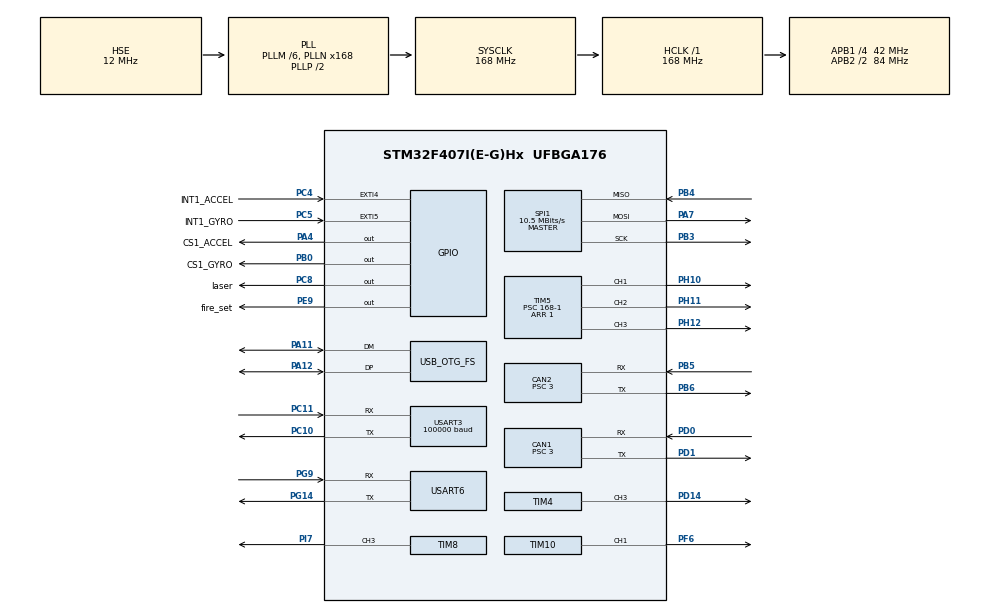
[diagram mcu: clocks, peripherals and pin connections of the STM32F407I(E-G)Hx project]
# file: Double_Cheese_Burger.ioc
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CAN1.ABOM=ENABLE
CAN1.AWUM=ENABLE
CAN1.BS1=CAN_BS1_10TQ
CAN1.BS2=CAN_BS2_3TQ
CAN1.CalculateBaudRate=1000000
CAN1.CalculateTimeBit=1000
CAN1.CalculateTimeQuantum=71.42857142857143
CAN1.Prescaler=3
CAN2.ABOM=ENABLE
CAN2.AWUM=ENABLE
CAN2.BS1=CAN_BS1_10TQ
CAN2.BS2=CAN_BS2_3TQ
CAN2.CalculateBaudRate=1000000
CAN2.CalculateTimeBit=1000
CAN2.CalculateTimeQuantum=71.42857142857143
CAN2.Prescaler=3
Dma.Request0=SPI1_RX
Dma.Request1=SPI1_TX
Dma.Request2=USART3_RX
Dma.Request3=USART6_RX
Dma.Request4=USART6_TX
Dma.SPI1_RX.0.Direction=DMA_PERIPH_TO_MEMORY
Dma.SPI1_RX.0.FIFOMode=DMA_FIFOMODE_DISABLE
Dma.SPI1_RX.0.Instance=DMA2_Stream0
Dma.SPI1_RX.0.MemDataAlignment=DMA_MDATAALIGN_BYTE
Dma.SPI1_RX.0.MemInc=DMA_MINC_ENABLE
Dma.SPI1_RX.0.Mode=DMA_NORMAL
Dma.SPI1_RX.0.PeriphDataAlignment=DMA_PDATAALIGN_BYTE
Dma.SPI1_RX.0.PeriphInc=DMA_PINC_DISABLE
Dma.SPI1_RX.0.Priority=DMA_PRIORITY_HIGH
Dma.SPI1_TX.1.Direction=DMA_MEMORY_TO_PERIPH
Dma.SPI1_TX.1.FIFOMode=DMA_FIFOMODE_DISABLE
Dma.SPI1_TX.1.Instance=DMA2_Stream3
Dma.SPI1_TX.1.MemDataAlignment=DMA_MDATAALIGN_BYTE
Dma.SPI1_TX.1.MemInc=DMA_MINC_ENABLE
Dma.SPI1_TX.1.Mode=DMA_NORMAL
Dma.SPI1_TX.1.PeriphDataAlignment=DMA_PDATAALIGN_BYTE
Dma.SPI1_TX.1.PeriphInc=DMA_PINC_DISABLE
Dma.SPI1_TX.1.Priority=DMA_PRIORITY_HIGH
Dma.USART3_RX.2.Direction=DMA_PERIPH_TO_MEMORY
Dma.USART3_RX.2.FIFOMode=DMA_FIFOMODE_DISABLE
Dma.USART3_RX.2.Instance=DMA1_Stream1
Dma.USART3_RX.2.MemDataAlignment=DMA_MDATAALIGN_BYTE
Dma.USART3_RX.2.MemInc=DMA_MINC_ENABLE
Dma.USART3_RX.2.Mode=DMA_CIRCULAR
Dma.USART3_RX.2.PeriphDataAlignment=DMA_PDATAALIGN_BYTE
Dma.USART3_RX.2.PeriphInc=DMA_PINC_DISABLE
Dma.USART3_RX.2.Priority=DMA_PRIORITY_VERY_HIGH
Dma.USART6_RX.3.Direction=DMA_PERIPH_TO_MEMORY
Dma.USART6_RX.3.FIFOMode=DMA_FIFOMODE_DISABLE
Dma.USART6_RX.3.Instance=DMA2_Stream1
Dma.USART6_RX.3.MemDataAlignment=DMA_MDATAALIGN_BYTE
Dma.USART6_RX.3.MemInc=DMA_MINC_ENABLE
Dma.USART6_RX.3.Mode=DMA_CIRCULAR
Dma.USART6_RX.3.PeriphDataAlignment=DMA_PDATAALIGN_BYTE
Dma.USART6_RX.3.PeriphInc=DMA_PINC_DISABLE
Dma.USART6_RX.3.Priority=DMA_PRIORITY_LOW
Dma.USART6_TX.4.Direction=DMA_MEMORY_TO_PERIPH
Dma.USART6_TX.4.FIFOMode=DMA_FIFOMODE_DISABLE
Dma.USART6_TX.4.Instance=DMA2_Stream6
Dma.USART6_TX.4.MemDataAlignment=DMA_MDATAALIGN_BYTE
Dma.USART6_TX.4.MemInc=DMA_MINC_ENABLE
Dma.USART6_TX.4.Mode=DMA_NORMAL
Dma.USART6_TX.4.PeriphDataAlignment=DMA_PDATAALIGN_BYTE
Dma.USART6_TX.4.PeriphInc=DMA_PINC_DISABLE
Dma.USART6_TX.4.Priority=DMA_PRIORITY_LOW
FREERTOS.INCLUDE_vTaskDelayUntil=1
FREERTOS.Tasks01=defaultTask,0,128,StartDefaultTask,Default,NULL,Dynamic,NULL,NULL;gimbal_task,2,1024,GIMBAL_TASK,As external,NULL,Dynamic,NULL,NULL;imu_task,0,512,ECF_IMU_Task,As external,NULL,Dynamic,NULL,NULL;fire_task,0,512,FIRE_TASK,As external,NULL,Dynamic,NULL,NULL;virtual_task,0,512,VIRTUAL_TASK,As external,NULL,Dynamic,NULL,NULL;safe_task,0,512,SAFE_TASK,As external,NULL,Dynamic,NULL,NULL
Mcu.Family=STM32F4
Mcu.Name=STM32F407I(E-G)Hx
Mcu.Package=UFBGA176
NVIC.CAN1_RX0_IRQn=true\:5\:0\:false\:false\:true\:true\:true\:true\:true
NVIC.CAN2_RX0_IRQn=true\:5\:0\:false\:false\:true\:true\:true\:true\:true
NVIC.DMA1_Stream1_IRQn=true\:5\:0\:false\:false\:true\:true\:false\:true\:true
NVIC.DMA2_Stream0_IRQn=true\:5\:0\:false\:false\:true\:true\:false\:true\:true
NVIC.DMA2_Stream1_IRQn=true\:5\:0\:false\:false\:true\:true\:false\:true\:true
NVIC.DMA2_Stream3_IRQn=true\:5\:0\:false\:false\:true\:true\:false\:true\:true
NVIC.DMA2_Stream6_IRQn=true\:5\:0\:false\:false\:true\:true\:false\:true\:true
NVIC.EXTI4_IRQn=true\:5\:0\:true\:false\:true\:false\:true\:true\:true
NVIC.EXTI9_5_IRQn=true\:5\:0\:true\:false\:true\:false\:true\:true\:true
NVIC.OTG_FS_IRQn=true\:5\:0\:false\:false\:true\:true\:false\:true\:true
NVIC.PriorityGroup=NVIC_PRIORITYGROUP_4
NVIC.TIM1_UP_TIM10_IRQn=true\:5\:0\:false\:false\:true\:false\:false\:true\:true
NVIC.TimeBase=TIM1_UP_TIM10_IRQn
NVIC.TimeBaseIP=TIM1
NVIC.USART3_IRQn=true\:5\:0\:false\:false\:true\:true\:true\:true\:true
NVIC.USART6_IRQn=true\:5\:0\:false\:false\:true\:true\:true\:true\:true
PA10.Signal=USB_OTG_FS_ID
PA11.Mode=Device_Only
PA11.Signal=USB_OTG_FS_DM
PA12.Mode=Device_Only
PA12.Signal=USB_OTG_FS_DP
PA13.Mode=Serial_Wire
PA13.Signal=SYS_JTMS-SWDIO
PA14.Mode=Serial_Wire
PA14.Signal=SYS_JTCK-SWCLK
PA4.GPIO_Label=CS1_ACCEL
PA4.GPIO_PuPd=GPIO_PULLUP
PA4.GPIO_Speed=GPIO_SPEED_FREQ_HIGH
PA4.PinState=GPIO_PIN_SET
PA4.Signal=GPIO_Output
PA7.GPIO_PuPd=GPIO_PULLUP
PA7.Mode=Full_Duplex_Master
PA7.Signal=SPI1_MOSI
PB0.GPIO_Label=CS1_GYRO
PB0.GPIO_PuPd=GPIO_PULLUP
PB0.GPIO_Speed=GPIO_SPEED_FREQ_HIGH
PB0.PinState=GPIO_PIN_SET
PB0.Signal=GPIO_Output
PB3.GPIO_PuPd=GPIO_PULLUP
PB3.Mode=Full_Duplex_Master
PB3.Signal=SPI1_SCK
PB4.GPIO_PuPd=GPIO_PULLUP
PB4.Mode=Full_Duplex_Master
PB4.Signal=SPI1_MISO
PB5.Mode=CAN_Activate
PB5.Signal=CAN2_RX
PB6.Mode=CAN_Activate
PB6.Signal=CAN2_TX
PC10.Mode=Asynchronous
PC10.Signal=USART3_TX
PC11.Mode=Asynchronous
PC11.Signal=USART3_RX
PC4.GPIO_Label=INT1_ACCEL
PC4.GPIO_ModeDefaultEXTI=GPIO_MODE_IT_FALLING
PC4.GPIO_PuPd=GPIO_PULLUP
PC4.Signal=GPXTI4
PC5.GPIO_Label=INT1_GYRO
PC5.GPIO_ModeDefaultEXTI=GPIO_MODE_IT_FALLING
PC5.GPIO_PuPd=GPIO_PULLUP
PC5.Signal=GPXTI5
PC8.GPIO_Label=laser
PC8.PinState=GPIO_PIN_SET
PC8.Signal=GPIO_Output
PD0.Mode=CAN_Activate
PD0.Signal=CAN1_RX
PD1.Mode=CAN_Activate
PD1.Signal=CAN1_TX
PD14.Signal=S_TIM4_CH3
PE9.GPIO_Label=fire_set
PE9.GPIO_PuPd=GPIO_PULLUP
PE9.PinState=GPIO_PIN_SET
PE9.Signal=GPIO_Output
PF6.GPIO_PuPd=GPIO_PULLUP
PF6.GPIO_Speed=GPIO_SPEED_FREQ_HIGH
PF6.Signal=S_TIM10_CH1
PG14.Mode=Asynchronous
PG14.Signal=USART6_TX
PG9.Mode=Asynchronous
PG9.Signal=USART6_RX
PH0-OSC_IN.Mode=HSE-External-Oscillator
PH0-OSC_IN.Signal=RCC_OSC_IN
PH1-OSC_OUT.Mode=HSE-External-Oscillator
PH1-OSC_OUT.Signal=RCC_OSC_OUT
PH10.Signal=S_TIM5_CH1
PH11.Signal=S_TIM5_CH2
PH12.Signal=S_TIM5_CH3
PI7.Signal=S_TIM8_CH3
ProjectManager.HeapSize=0x2000
ProjectManager.StackSize=0x2000
ProjectManager.TargetToolchain=Makefile
RCC.48MHZClocksFreq_Value=48000000
RCC.AHBFreq_Value=168000000
RCC.APB1CLKDivider=RCC_HCLK_DIV4
RCC.APB1Freq_Value=42000000
RCC.APB1TimFreq_Value=84000000
RCC.APB2CLKDivider=RCC_HCLK_DIV2
RCC.APB2Freq_Value=84000000
RCC.APB2TimFreq_Value=168000000
RCC.CortexFreq_Value=168000000
RCC.HCLKFreq_Value=168000000
RCC.HSE_VALUE=12000000
RCC.HSI_VALUE=16000000
RCC.LSE_VALUE=32768
RCC.PLLM=6
RCC.PLLN=168
RCC.PLLQ=7
RCC.SYSCLKFreq_VALUE=168000000
RCC.SYSCLKSource=RCC_SYSCLKSOURCE_PLLCLK
RCC.VCOOutputFreq_Value=336000000
SH.S_TIM10_CH1.0=TIM10_CH1,PWM Generation1 CH1
SH.S_TIM4_CH3.0=TIM4_CH3,PWM Generation3 CH3
SH.S_TIM5_CH1.0=TIM5_CH1,PWM Generation1 CH1
SH.S_TIM5_CH2.0=TIM5_CH2,PWM Generation2 CH2
SH.S_TIM5_CH3.0=TIM5_CH3,PWM Generation3 CH3
SH.S_TIM8_CH3.0=TIM8_CH3,PWM Generation3 CH3
SPI1.BaudRatePrescaler=SPI_BAUDRATEPRESCALER_8
SPI1.CLKPhase=SPI_PHASE_2EDGE
SPI1.CLKPolarity=SPI_POLARITY_HIGH
SPI1.CalculateBaudRate=10.5 MBits/s
SPI1.Direction=SPI_DIRECTION_2LINES
SPI1.Mode=SPI_MODE_MASTER
SPI1.VirtualType=VM_MASTER
STMicroelectronics.X-CUBE-ALGOBUILD.1.3.0.LibraryCcDSPOoLibraryJjDSPOoLibrary=true
TIM10.Channel=TIM_CHANNEL_1
TIM10.Period=1999
TIM10.Prescaler=839
TIM4.Channel-PWM\ Generation3\ CH3=TIM_CHANNEL_3
TIM4.Period=20999
TIM4.Prescaler=0
TIM5.Channel-PWM\ Generation1\ CH1=TIM_CHANNEL_1
TIM5.Channel-PWM\ Generation2\ CH2=TIM_CHANNEL_2
TIM5.Channel-PWM\ Generation3\ CH3=TIM_CHANNEL_3
TIM5.Period=1
TIM5.Prescaler=168-1
TIM8.Channel-PWM\ Generation3\ CH3=TIM_CHANNEL_3
TIM8.Period=20000-1
TIM8.Prescaler=168-1
TIM8.Pulse-PWM\ Generation3\ CH3=1500
USART3.BaudRate=100000
USART3.Parity=PARITY_EVEN
USART3.VirtualMode=VM_ASYNC
USART6.VirtualMode=VM_ASYNC
USB_DEVICE.CLASS_NAME_FS=CDC
USB_DEVICE.VirtualMode-CDC_FS=Cdc
USB_DEVICE.VirtualModeFS=Cdc_FS
USB_OTG_FS.VirtualMode=Device_Only
VP_FREERTOS_VS_CMSIS_V1.Mode=CMSIS_V1
VP_STMicroelectronics.X-CUBE-ALGOBUILD_VS_DSPOoLibraryJjLibrary_1.3.0_1.3.0.Mode=DSPOoLibraryJjLibrary
VP_SYS_VS_tim1.Mode=TIM1
VP_TIM10_VS_ClockSourceINT.Mode=Enable_Timer
VP_TIM4_VS_ClockSourceINT.Mode=Internal
VP_TIM5_VS_ClockSourceINT.Mode=Internal
VP_TIM8_VS_ClockSourceINT.Mode=Internal
VP_USB_DEVICE_VS_USB_DEVICE_CDC_FS.Mode=CDC_FS
board=custom

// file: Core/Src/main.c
/* USER CODE BEGIN Header */
/**
  ******************************************************************************
  * @file           : main.c
  * @brief          : Main program body
  ******************************************************************************
  * @attention
  *
  * Copyright (c) 2022 STMicroelectronics.
  * All rights reserved.
  *
  * This software is licensed under terms that can be found in the LICENSE file
  * in the root directory of this software component.
  * If no LICENSE file comes with this software, it is provided AS-IS.
  *
  ******************************************************************************
  */
/* USER CODE END Header */
#include "main.h"
#include "cmsis_os.h"
#include "can.h"
#include "dma.h"
#include "spi.h"
#include "tim.h"
#include "usart.h"
#include "usb_device.h"
#include "gpio.h"

/* USER CODE BEGIN Includes */
#include "bsp_dr16.h"
#include "bsp_can.h"
#include "bsp_dwt.h"
#include "imu_task.h"
#include "bsp_referee.h"

/* USER CODE END Includes */

void SystemClock_Config(void);
void MX_FREERTOS_Init(void);

/* USER CODE BEGIN 0 */

uint16_t angle = 90;
/* USER CODE END 0 */

int main(void)
{

  /* MCU Configuration--------------------------------------------------------*/

  /* Reset of all peripherals, Initializes the Flash interface and the Systick. */
  HAL_Init();

  /* Configure the system clock */
  SystemClock_Config();

  /* Initialize all configured peripherals */
  MX_GPIO_Init();
  MX_DMA_Init();
  MX_CAN1_Init();
  MX_CAN2_Init();
  MX_SPI1_Init();
  MX_USART3_UART_Init();
  MX_USART6_UART_Init();
  MX_TIM10_Init();
  MX_TIM4_Init();
  MX_TIM8_Init();
  MX_TIM5_Init();
  /* USER CODE BEGIN 2 */
  /* systemview ³õÊ¼»¯ */
  HAL_TIM_PWM_Start(&htim8,TIM_CHANNEL_3);
  HAL_TIM_PWM_Start(&htim5,TIM_CHANNEL_1);
  HAL_TIM_PWM_Start(&htim5,TIM_CHANNEL_2);
  HAL_TIM_PWM_Start(&htim5,TIM_CHANNEL_3);

  ECF_RC_Init();
  ECF_CAN_Init();
  DWT_Init(168);
  ECF_referee_uart_init();
  while (BMI088_init(&hspi1, 1) != BMI088_NO_ERROR);
  /* USER CODE END 2 */

  /* Call init function for freertos objects (in freertos.c) */
  MX_FREERTOS_Init();

  /* Start scheduler */
  osKernelStart();

  /* We should never get here as control is now taken by the scheduler */
  /* Infinite loop */
  while (1)
  {

  }
}

void SystemClock_Config(void)
{
  RCC_OscInitTypeDef RCC_OscInitStruct = {0};
  RCC_ClkInitTypeDef RCC_ClkInitStruct = {0};

  /** Configure the main internal regulator output voltage
  */
  __HAL_RCC_PWR_CLK_ENABLE();
  __HAL_PWR_VOLTAGESCALING_CONFIG(PWR_REGULATOR_VOLTAGE_SCALE1);

  /** Initializes the RCC Oscillators according to the specified parameters
  * in the RCC_OscInitTypeDef structure.
  */
  RCC_OscInitStruct.OscillatorType = RCC_OSCILLATORTYPE_HSE;
  RCC_OscInitStruct.HSEState = RCC_HSE_ON;
  RCC_OscInitStruct.PLL.PLLState = RCC_PLL_ON;
  RCC_OscInitStruct.PLL.PLLSource = RCC_PLLSOURCE_HSE;
  RCC_OscInitStruct.PLL.PLLM = 6;
  RCC_OscInitStruct.PLL.PLLN = 168;
  RCC_OscInitStruct.PLL.PLLP = RCC_PLLP_DIV2;
  RCC_OscInitStruct.PLL.PLLQ = 7;
  if (HAL_RCC_OscConfig(&RCC_OscInitStruct) != HAL_OK)
  {
    Error_Handler();
  }

  /** Initializes the CPU, AHB and APB buses clocks
  */
  RCC_ClkInitStruct.ClockType = RCC_CLOCKTYPE_HCLK|RCC_CLOCKTYPE_SYSCLK
                              |RCC_CLOCKTYPE_PCLK1|RCC_CLOCKTYPE_PCLK2;
  RCC_ClkInitStruct.SYSCLKSource = RCC_SYSCLKSOURCE_PLLCLK;
  RCC_ClkInitStruct.AHBCLKDivider = RCC_SYSCLK_DIV1;
  RCC_ClkInitStruct.APB1CLKDivider = RCC_HCLK_DIV4;
  RCC_ClkInitStruct.APB2CLKDivider = RCC_HCLK_DIV2;

  if (HAL_RCC_ClockConfig(&RCC_ClkInitStruct, FLASH_LATENCY_5) != HAL_OK)
  {
    Error_Handler();
  }
}

void HAL_TIM_PeriodElapsedCallback(TIM_HandleTypeDef *htim)
{
  if (htim->Instance == TIM1) {
    HAL_IncTick();
  }
}

void Error_Handler(void)
{
  __disable_irq();
  while (1)
  {
  }
}

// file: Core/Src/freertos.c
/* USER CODE BEGIN Header */
/**
  ******************************************************************************
  * File Name          : freertos.c
  * Description        : Code for freertos applications
  ******************************************************************************
  * @attention
  *
  * Copyright (c) 2024 STMicroelectronics.
  * All rights reserved.
  *
  * This software is licensed under terms that can be found in the LICENSE file
  * in the root directory of this software component.
  * If no LICENSE file comes with this software, it is provided AS-IS.
  *
  ******************************************************************************
  */
/* USER CODE END Header */

#include "FreeRTOS.h"
#include "task.h"
#include "main.h"
#include "cmsis_os.h"

osThreadId defaultTaskHandle;
osThreadId gimbal_taskHandle;
osThreadId imu_taskHandle;
osThreadId fire_taskHandle;
//osThreadId virtual_taskHandle;
osThreadId safe_taskHandle;

void StartDefaultTask(void const * argument);
extern void GIMBAL_TASK(void const * argument);
extern void ECF_IMU_Task(void const * argument);
extern void FIRE_TASK(void const * argument);
//extern void VIRTUAL_TASK(void const * argument);
extern void SAFE_TASK(void const * argument);

extern void MX_USB_DEVICE_Init(void);
void MX_FREERTOS_Init(void); /* (MISRA C 2004 rule 8.1) */

/* GetIdleTaskMemory prototype (linked to static allocation support) */
void vApplicationGetIdleTaskMemory( StaticTask_t **ppxIdleTaskTCBBuffer, StackType_t **ppxIdleTaskStackBuffer, uint32_t *pulIdleTaskStackSize );

/* USER CODE BEGIN GET_IDLE_TASK_MEMORY */
static StaticTask_t xIdleTaskTCBBuffer;
static StackType_t xIdleStack[configMINIMAL_STACK_SIZE];

void vApplicationGetIdleTaskMemory( StaticTask_t **ppxIdleTaskTCBBuffer, StackType_t **ppxIdleTaskStackBuffer, uint32_t *pulIdleTaskStackSize )
{
  *ppxIdleTaskTCBBuffer = &xIdleTaskTCBBuffer;
  *ppxIdleTaskStackBuffer = &xIdleStack[0];
  *pulIdleTaskStackSize = configMINIMAL_STACK_SIZE;
  /* place for user code */
}
/* USER CODE END GET_IDLE_TASK_MEMORY */

void MX_FREERTOS_Init(void) {

  /* Create the thread(s) */
  /* definition and creation of defaultTask */
  osThreadDef(defaultTask, StartDefaultTask, osPriorityNormal, 0, 128);
  defaultTaskHandle = osThreadCreate(osThread(defaultTask), NULL);

  /* definition and creation of gimbal_task */
  osThreadDef(gimbal_task, GIMBAL_TASK, osPriorityHigh, 0, 1024);
  gimbal_taskHandle = osThreadCreate(osThread(gimbal_task), NULL);

  /* definition and creation of imu_task */
  osThreadDef(imu_task, ECF_IMU_Task, osPriorityNormal, 0, 512);
  imu_taskHandle = osThreadCreate(osThread(imu_task), NULL);

  /* definition and creation of fire_task */
  osThreadDef(fire_task, FIRE_TASK, osPriorityNormal, 0, 512);
  fire_taskHandle = osThreadCreate(osThread(fire_task), NULL);

  /* definition and creation of virtual_task */
  // osThreadDef(virtual_task, VIRTUAL_TASK, osPriorityNormal, 0, 512);
  // virtual_taskHandle = osThreadCreate(osThread(virtual_task), NULL);

  /* definition and creation of safe_task */
  osThreadDef(safe_task, SAFE_TASK, osPriorityNormal, 0, 512);
  safe_taskHandle = osThreadCreate(osThread(safe_task), NULL);

}

void StartDefaultTask(void const * argument)
{
  /* init code for USB_DEVICE */
  MX_USB_DEVICE_Init();
  for(;;)
  {
    osDelay(1);
  }
}
